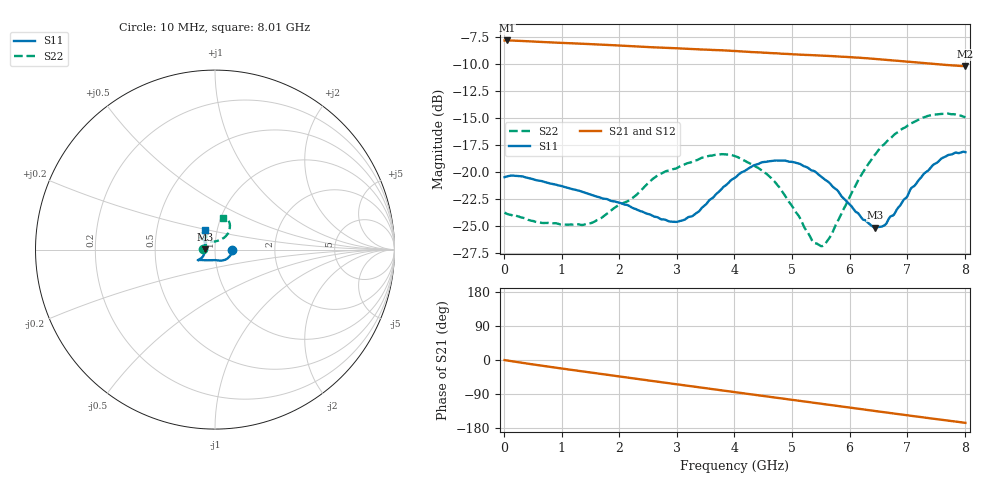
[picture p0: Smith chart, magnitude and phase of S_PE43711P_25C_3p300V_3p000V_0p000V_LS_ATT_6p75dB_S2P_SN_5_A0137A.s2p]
! Device ID: PE43711P
! File Path: z:\PE43711P\CHAR_NOM_04282014\AMB\3p300\LS_ATT_6p75dB\PE43711P_AMB_3p300V_3p000V_0p000V_LS_ATT_6p75dB_S2P_SN_5_A0137A.s2p
! Serial: 5
! Lot: A0137A
! Temp: 25C
! VDD: 3.300
! VSS: 0.000
! Control_Hi: 3.000
! Control_Lo: 0.000
! Attenuation Step: 6.75dB
! Port 1: RF1
! Port 2: RF2
! ThroughPath:1-2
! IDD: 0.0001278278
! ISS: -1.37e-007
#  Hz  S  RI  R  50
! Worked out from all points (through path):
!   801 points, 10 MHz to 8.01 GHz, reference 50 ohm
!   highest |S21| = -7.85 dB at 50 MHz (marker M1); lowest = -10.2 dB at 8.01 GHz (marker M2)
!   group delay of S21, straight-line fit = 57.1 ps
!   lowest |S11| = -25.2 dB at 6.44 GHz (marker M3), VSWR 1.12, Z = 44.8 + j0.086 ohm
!   |S11| at or under -10 dB: start of sweep to end of sweep
!   |S22| runs from -26.9 to -14.6 dB; largest |S21 - S12| = 0.00068
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1e7  0.0943 -0.000396  0.4051 -0.00211  0.4053 -0.00222  -0.0647 0.000563
5e7  0.0949 -0.00235  0.4051 -0.0087  0.4052 -0.00865  -0.0637 0.00172
6.4e8  0.0832 -0.0358  0.3859 -0.1011  0.3861 -0.1012  -0.0577 0.00577
1.35e9  0.0579 -0.0563  0.3392 -0.1951  0.3395 -0.1953  -0.0527 0.0207
2.19e9  0.0306 -0.0617  0.2572 -0.2816  0.2576 -0.2818  -0.0478 0.0566
2.68e9  0.0129 -0.0597  0.2016 -0.317  0.2017 -0.3173  -0.0519 0.0815
2.98e9  -0.00309 -0.0584  0.1652 -0.3343  0.1653 -0.3345  -0.0577 0.0856
3.27e9  -0.0212 -0.0585  0.1283 -0.3465  0.1286 -0.3469  -0.0648 0.0905
3.68e9  -0.0517 -0.0591  0.0758 -0.3576  0.0757 -0.3578  -0.0794 0.0894
4.01e9  -0.0737 -0.058  0.0325 -0.3605  0.0323 -0.3607  -0.0877 0.0788
4.34e9  -0.0899 -0.0579  -0.00984 -0.3576  -0.00991 -0.3578  -0.0829 0.0673
4.68e9  -0.0958 -0.0588  -0.0522 -0.3496  -0.0523 -0.3497  -0.0711 0.0569
5.35e9  -0.0862 -0.0531  -0.1294 -0.3212  -0.1296 -0.3215  -0.0192 0.0438
5.51e9  -0.0805 -0.05  -0.1469 -0.3118  -0.147 -0.3119  -0.00317 0.045
5.61e9  -0.0772 -0.0472  -0.1576 -0.3055  -0.1574 -0.3057  0.00752 0.0471
6.15e9  -0.0604 -0.0216  -0.2101 -0.2638  -0.2103 -0.2639  0.0569 0.0715
6.44e9  -0.0549 0.000957  -0.2333 -0.237  -0.2336 -0.2371  0.0744 0.0939
6.68e9  -0.0559 0.0233  -0.2498 -0.2138  -0.2498 -0.214  0.081 0.1154
7.05e9  -0.059 0.0573  -0.2703 -0.1757  -0.2701 -0.1758  0.0817 0.1449
7.45e9  -0.0619 0.0878  -0.2857 -0.1338  -0.2859 -0.1339  0.0684 0.1698
7.7e9  -0.0624 0.1012  -0.2925 -0.1077  -0.2924 -0.1075  0.0554 0.1774
8.01e9  -0.0561 0.1094  -0.2983 -0.0754  -0.2986 -0.0748  0.0423 0.1734
